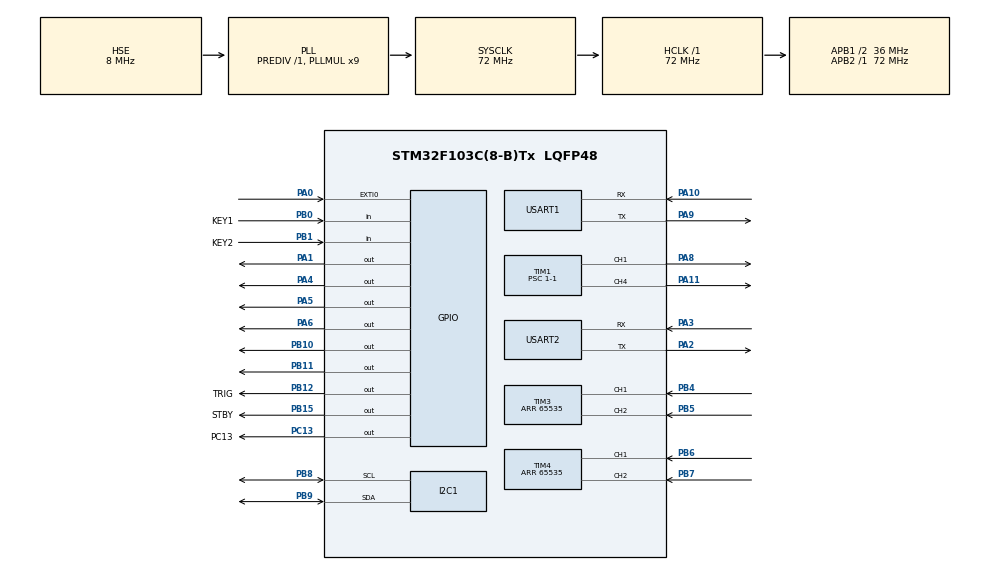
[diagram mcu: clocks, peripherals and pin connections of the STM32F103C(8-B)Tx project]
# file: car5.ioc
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Dma.MEMTOMEM.2.Direction=DMA_MEMORY_TO_MEMORY
Dma.MEMTOMEM.2.Instance=DMA1_Channel1
Dma.MEMTOMEM.2.MemDataAlignment=DMA_MDATAALIGN_BYTE
Dma.MEMTOMEM.2.MemInc=DMA_MINC_ENABLE
Dma.MEMTOMEM.2.Mode=DMA_NORMAL
Dma.MEMTOMEM.2.PeriphDataAlignment=DMA_PDATAALIGN_BYTE
Dma.MEMTOMEM.2.PeriphInc=DMA_PINC_ENABLE
Dma.MEMTOMEM.2.Priority=DMA_PRIORITY_LOW
Dma.Request0=USART2_RX
Dma.Request1=USART2_TX
Dma.Request2=MEMTOMEM
Dma.USART2_RX.0.Direction=DMA_PERIPH_TO_MEMORY
Dma.USART2_RX.0.Instance=DMA1_Channel6
Dma.USART2_RX.0.MemDataAlignment=DMA_MDATAALIGN_BYTE
Dma.USART2_RX.0.MemInc=DMA_MINC_ENABLE
Dma.USART2_RX.0.Mode=DMA_NORMAL
Dma.USART2_RX.0.PeriphDataAlignment=DMA_PDATAALIGN_BYTE
Dma.USART2_RX.0.PeriphInc=DMA_PINC_DISABLE
Dma.USART2_RX.0.Priority=DMA_PRIORITY_MEDIUM
Dma.USART2_TX.1.Direction=DMA_MEMORY_TO_PERIPH
Dma.USART2_TX.1.Instance=DMA1_Channel7
Dma.USART2_TX.1.MemDataAlignment=DMA_MDATAALIGN_BYTE
Dma.USART2_TX.1.MemInc=DMA_MINC_ENABLE
Dma.USART2_TX.1.Mode=DMA_NORMAL
Dma.USART2_TX.1.PeriphDataAlignment=DMA_PDATAALIGN_BYTE
Dma.USART2_TX.1.PeriphInc=DMA_PINC_DISABLE
Dma.USART2_TX.1.Priority=DMA_PRIORITY_MEDIUM
I2C1.I2C_Mode=I2C_Fast
Mcu.Family=STM32F1
Mcu.Name=STM32F103C(8-B)Tx
Mcu.Package=LQFP48
NVIC.DMA1_Channel6_IRQn=true\:0\:0\:false\:false\:true\:false\:true\:true
NVIC.DMA1_Channel7_IRQn=true\:0\:0\:false\:false\:true\:false\:true\:true
NVIC.EXTI0_IRQn=true\:0\:0\:false\:false\:true\:true\:true\:true
NVIC.PriorityGroup=NVIC_PRIORITYGROUP_4
NVIC.TIM2_IRQn=true\:0\:0\:true\:false\:true\:true\:true\:true
NVIC.TIM3_IRQn=true\:1\:0\:true\:false\:true\:true\:true\:true
NVIC.TIM4_IRQn=true\:1\:0\:true\:false\:true\:true\:true\:true
NVIC.USART1_IRQn=true\:0\:0\:false\:false\:true\:true\:true\:true
NVIC.USART2_IRQn=true\:0\:0\:false\:false\:true\:true\:true\:true
PA0-WKUP.GPIO_ModeDefaultEXTI=GPIO_MODE_IT_FALLING
PA0-WKUP.GPIO_PuPd=GPIO_PULLUP
PA0-WKUP.Signal=GPXTI0
PA1.Signal=GPIO_Output
PA10.Mode=Asynchronous
PA10.Signal=USART1_RX
PA11.Signal=S_TIM1_CH4
PA13.Mode=Serial_Wire
PA13.Signal=SYS_JTMS-SWDIO
PA14.Mode=Serial_Wire
PA14.Signal=SYS_JTCK-SWCLK
PA2.Mode=Asynchronous
PA2.Signal=USART2_TX
PA3.Mode=Asynchronous
PA3.Signal=USART2_RX
PA4.Signal=GPIO_Output
PA5.Signal=GPIO_Output
PA6.Signal=GPIO_Output
PA8.Signal=S_TIM1_CH1
PA9.Mode=Asynchronous
PA9.Signal=USART1_TX
PB0.GPIO_Label=KEY1
PB0.GPIO_PuPd=GPIO_PULLUP
PB0.Signal=GPIO_Input
PB1.GPIO_Label=KEY2
PB1.GPIO_PuPd=GPIO_PULLUP
PB1.Signal=GPIO_Input
PB10.GPIO_ModeDefaultOutputPP=GPIO_MODE_OUTPUT_OD
PB10.GPIO_PuPd=GPIO_PULLUP
PB10.GPIO_Speed=GPIO_SPEED_FREQ_MEDIUM
PB10.PinState=GPIO_PIN_SET
PB10.Signal=GPIO_Output
PB11.GPIO_ModeDefaultOutputPP=GPIO_MODE_OUTPUT_OD
PB11.GPIO_PuPd=GPIO_PULLUP
PB11.GPIO_Speed=GPIO_SPEED_FREQ_HIGH
PB11.PinState=GPIO_PIN_SET
PB11.Signal=GPIO_Output
PB12.GPIO_Label=TRIG
PB12.Signal=GPIO_Output
PB15.GPIO_Label=STBY
PB15.Signal=GPIO_Output
PB3.GPIO_Label=ECHO
PB3.GPIO_PuPd=GPIO_NOPULL
PB3.Signal=S_TIM2_CH2
PB4.GPIO_PuPd=GPIO_PULLUP
PB4.Signal=S_TIM3_CH1
PB5.GPIO_PuPd=GPIO_PULLUP
PB5.Signal=S_TIM3_CH2
PB6.Signal=S_TIM4_CH1
PB7.Signal=S_TIM4_CH2
PB8.Mode=I2C
PB8.Signal=I2C1_SCL
PB9.Mode=I2C
PB9.Signal=I2C1_SDA
PC13-TAMPER-RTC.GPIO_Label=PC13
PC13-TAMPER-RTC.PinState=GPIO_PIN_SET
PC13-TAMPER-RTC.Signal=GPIO_Output
PD0-OSC_IN.Mode=HSE-External-Oscillator
PD0-OSC_IN.Signal=RCC_OSC_IN
PD1-OSC_OUT.Mode=HSE-External-Oscillator
PD1-OSC_OUT.Signal=RCC_OSC_OUT
ProjectManager.HeapSize=0x200
ProjectManager.StackSize=0x400
ProjectManager.TargetToolchain=MDK-ARM V5.32
RCC.AHBFreq_Value=72000000
RCC.APB1CLKDivider=RCC_HCLK_DIV2
RCC.APB1Freq_Value=36000000
RCC.APB1TimFreq_Value=72000000
RCC.APB2Freq_Value=72000000
RCC.APB2TimFreq_Value=72000000
RCC.HCLKFreq_Value=72000000
RCC.PLLMUL=RCC_PLL_MUL9
RCC.PLLSourceVirtual=RCC_PLLSOURCE_HSE
RCC.SYSCLKFreq_VALUE=72000000
RCC.SYSCLKSource=RCC_SYSCLKSOURCE_PLLCLK
RCC.USBFreq_Value=72000000
SH.S_TIM1_CH1.0=TIM1_CH1,PWM Generation1 CH1
SH.S_TIM1_CH4.0=TIM1_CH4,PWM Generation4 CH4
SH.S_TIM2_CH2.0=TIM2_CH2
SH.S_TIM3_CH1.0=TIM3_CH1,Encoder_Interface
SH.S_TIM3_CH2.0=TIM3_CH2,Encoder_Interface
SH.S_TIM4_CH1.0=TIM4_CH1,Encoder_Interface
SH.S_TIM4_CH2.0=TIM4_CH2,Encoder_Interface
TIM1.AutoReloadPreload=TIM_AUTORELOAD_PRELOAD_ENABLE
TIM1.Channel-PWM\ Generation1\ CH1=TIM_CHANNEL_1
TIM1.Channel-PWM\ Generation4\ CH4=TIM_CHANNEL_4
TIM1.Period=7200-1
TIM1.Prescaler=1-1
TIM1.Pulse-PWM\ Generation4\ CH4=0
TIM2.AutoReloadPreload=TIM_AUTORELOAD_PRELOAD_ENABLE
TIM2.Period=9999
TIM2.Prescaler=72-1
TIM3.AutoReloadPreload=TIM_AUTORELOAD_PRELOAD_DISABLE
TIM3.EncoderMode=TIM_ENCODERMODE_TI12
TIM3.Period=65535
TIM4.AutoReloadPreload=TIM_AUTORELOAD_PRELOAD_DISABLE
TIM4.EncoderMode=TIM_ENCODERMODE_TI12
TIM4.Period=65535
USART1.VirtualMode=VM_ASYNC
USART2.VirtualMode=VM_ASYNC
VP_TIM1_VS_ClockSourceINT.Mode=Internal
VP_TIM2_VS_ClockSourceINT.Mode=Internal
board=custom

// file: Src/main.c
/* USER CODE BEGIN Header */
/**
  ******************************************************************************
  * @file           : main.c
  * @brief          : Main program body
  ******************************************************************************
  * @attention
  *
  * Copyright (c) 2023 STMicroelectronics.
  * All rights reserved.
  *
  * This software is licensed under terms that can be found in the LICENSE file
  * in the root directory of this software component.
  * If no LICENSE file comes with this software, it is provided AS-IS.
  *
  ******************************************************************************
  */
/* USER CODE END Header */
#include "main.h"
#include "dma.h"
#include "i2c.h"
#include "tim.h"
#include "usart.h"
#include "gpio.h"

/* USER CODE BEGIN Includes */
#include "sonic.h"
#include "bsp_motor.h"
#include "mpu6050.h"
#include "inv_mpu.h"
#include "inv_mpu_dmp_motion_driver.h"
#include "bsp_oled.h"
#include <stdio.h>
#include "pid.h"
#include "exti.h"
/* USER CODE END Includes */

/* USER CODE BEGIN PV */
uint8_t OLED_Disp_Str[21];
uint8_t fx;
/* USER CODE END PV */

void SystemClock_Config(void);
/* USER CODE BEGIN PFP */
void OLED_Proc(void);
void Print_Proc(void);
/* USER CODE END PFP */

int main(void)
{

  /* MCU Configuration--------------------------------------------------------*/

  /* Reset of all peripherals, Initializes the Flash interface and the Systick. */
  HAL_Init();

  /* Configure the system clock */
  SystemClock_Config();

  /* Initialize all configured peripherals */
  MX_GPIO_Init();
  MX_DMA_Init();
  MX_I2C1_Init();
  MX_TIM1_Init();
  MX_TIM3_Init();
  MX_USART1_UART_Init();
  MX_TIM4_Init();
  MX_TIM2_Init();
  MX_USART2_UART_Init();
  /* USER CODE BEGIN 2 */
	OLED_Init();
	HAL_NVIC_DisableIRQ(EXTI0_IRQn);  // 先关闭外部中断，初始化完成后，开启外部中断
	HAL_GPIO_WritePin(STBY_GPIO_Port, STBY_Pin, GPIO_PIN_SET);
	while(MPU_Init());
	print(&huart2, "%s\r\n","Mpu6050 Init OK!");
	while(mpu_dmp_init()) {
		sprintf((char* )OLED_Disp_Str, "   pitch = %d ", mpu_dmp_init());
		OLED_ShowStr(0, 0, OLED_Disp_Str, 1);
	}
	print(&huart2, "%s\r\n","Mpu6050 Init OKOKOKOKOKOK!!!");
	PID_Init();
	HAL_NVIC_EnableIRQ(EXTI0_IRQn);    // 开启外部中断
	HAL_GPIO_WritePin(PC13_GPIO_Port, PC13_Pin, GPIO_PIN_RESET);
	Motor_Init();	  // 先初始化mpu6050，在初始化定时器
  /* USER CODE END 2 */

  /* Infinite loop */
  /* USER CODE BEGIN WHILE */
  while (1)
  {
		OLED_Proc();
//		Print_Proc();
		Key_Proc();

    /* USER CODE END WHILE */

    /* USER CODE BEGIN 3 */
  }

	return 0;
  /* USER CODE END 3 */
}

void SystemClock_Config(void)
{
  RCC_OscInitTypeDef RCC_OscInitStruct = {0};
  RCC_ClkInitTypeDef RCC_ClkInitStruct = {0};

  /** Initializes the RCC Oscillators according to the specified parameters
  * in the RCC_OscInitTypeDef structure.
  */
  RCC_OscInitStruct.OscillatorType = RCC_OSCILLATORTYPE_HSE;
  RCC_OscInitStruct.HSEState = RCC_HSE_ON;
  RCC_OscInitStruct.HSEPredivValue = RCC_HSE_PREDIV_DIV1;
  RCC_OscInitStruct.HSIState = RCC_HSI_ON;
  RCC_OscInitStruct.PLL.PLLState = RCC_PLL_ON;
  RCC_OscInitStruct.PLL.PLLSource = RCC_PLLSOURCE_HSE;
  RCC_OscInitStruct.PLL.PLLMUL = RCC_PLL_MUL9;
  if (HAL_RCC_OscConfig(&RCC_OscInitStruct) != HAL_OK)
  {
    Error_Handler();
  }

  /** Initializes the CPU, AHB and APB buses clocks
  */
  RCC_ClkInitStruct.ClockType = RCC_CLOCKTYPE_HCLK|RCC_CLOCKTYPE_SYSCLK
                              |RCC_CLOCKTYPE_PCLK1|RCC_CLOCKTYPE_PCLK2;
  RCC_ClkInitStruct.SYSCLKSource = RCC_SYSCLKSOURCE_PLLCLK;
  RCC_ClkInitStruct.AHBCLKDivider = RCC_SYSCLK_DIV1;
  RCC_ClkInitStruct.APB1CLKDivider = RCC_HCLK_DIV2;
  RCC_ClkInitStruct.APB2CLKDivider = RCC_HCLK_DIV1;

  if (HAL_RCC_ClockConfig(&RCC_ClkInitStruct, FLASH_LATENCY_2) != HAL_OK)
  {
    Error_Handler();
  }
}

/* USER CODE BEGIN 4 */

void OLED_Proc(void) {
	static __IO uint32_t uwTick_OLED_Speed;
	if(uwTick - uwTick_OLED_Speed < 100) return;
	uwTick_OLED_Speed = uwTick;

	sprintf((char* )OLED_Disp_Str, "   pitch = %04.2f ", pitch);
	OLED_ShowStr(0, 0, OLED_Disp_Str, 1);
	sprintf((char* )OLED_Disp_Str, "   roll = %04.2f ", roll);
	OLED_ShowStr(0, 1, OLED_Disp_Str, 1);
	sprintf((char* )OLED_Disp_Str, "   yaw = %04.2f ", yaw);
	OLED_ShowStr(0, 2, OLED_Disp_Str, 1);

	sprintf((char* )OLED_Disp_Str, "Speed2 = %d         ", (int)motor2.speed);
	OLED_ShowStr(0, 4, OLED_Disp_Str, 1);

	sprintf((char* )OLED_Disp_Str, "Speed1 = %d         ", (int)motor1.speed);
	OLED_ShowStr(0, 6, OLED_Disp_Str, 1);
}

void Print_Proc(void) {
	static __IO uint32_t uwTick_Print_Speed;
	if(uwTick - uwTick_Print_Speed < 100) return;
	uwTick_Print_Speed = uwTick;

	print(&huart2, "%f,%f,%f\n",pitch,roll,yaw);
}

void HAL_SYSTICK_Callback(void) {

}

/* USER CODE END 4 */

void Error_Handler(void)
{
  __disable_irq();
  while (1)
  {
  }
}
